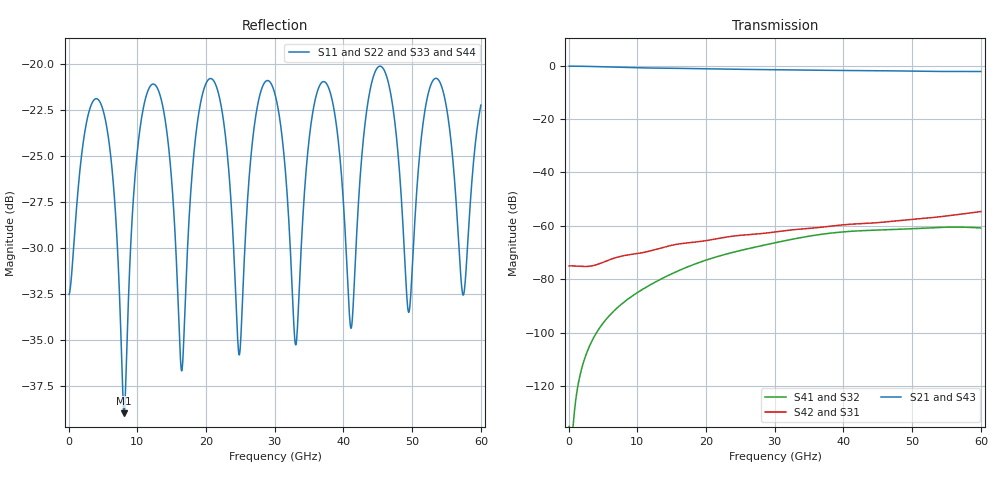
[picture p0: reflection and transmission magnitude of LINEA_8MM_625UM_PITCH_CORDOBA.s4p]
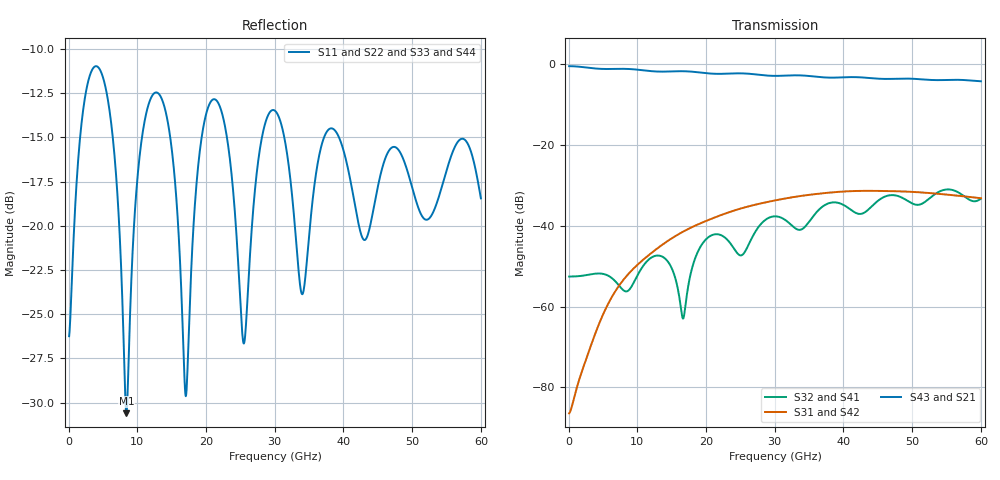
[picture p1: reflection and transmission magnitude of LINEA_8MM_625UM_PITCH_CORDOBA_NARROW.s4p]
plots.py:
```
"""Comparison plots: CORDOBA (35 / 49.85 um) vs CORDOBA HZ (10 / 25 um), 8 mm. Model-free S-parameters
from the s4p files; EO crosstalk from the CST gap fields at the 12 monitor frequencies (50 ohm, push-pull)."""
import os, sys
sys.path.insert(0, os.path.abspath(os.path.join(os.path.dirname(__file__), "../../../..")))
import numpy as np, skrf, matplotlib
matplotlib.use("Agg")
import matplotlib.pyplot as plt
from mzm_interconnect import parameters as P, xtalk_s4p as X, xtalk_fields as XF
HERE = os.path.dirname(os.path.abspath(__file__))
RUNS = {"CORDOBA (signal 35 µm, grounds 49.85 µm)": (os.path.join(HERE, "../cordoba_8mm"), "LINEA_8MM_625UM_PITCH_CORDOBA.s4p"),
        "CORDOBA HZ (signal 10 µm, grounds 25 µm)": (HERE, "LINEA_8MM_625UM_PITCH_CORDOBA_NARROW.s4p")}
COL = ["#2a78d6", "#eb6834"]; INK, MUTED, GRID = "#1f1f1e", "#6b6a64", "#e4e3de"; SURF = "#fcfcfb"
d = lambda x: 20 * np.log10(np.abs(x) + 1e-30)
plt.rcParams.update({"font.size": 10, "axes.edgecolor": MUTED, "axes.labelcolor": INK, "xtick.color": MUTED,
                     "ytick.color": MUTED, "axes.facecolor": SURF, "figure.facecolor": SURF, "axes.grid": True,
                     "grid.color": GRID, "grid.linewidth": 0.8, "axes.spines.top": False, "axes.spines.right": False})
nets = {k: skrf.Network(os.path.join(v[0], v[1])) for k, v in RUNS.items()}
fig, axs = plt.subplots(2, 2, figsize=(12, 8), sharex=True)
panels = [((0, 0), "S11 (dB)", 0, 0), ((0, 1), "S21 (dB)", 1, 0), ((1, 0), "NEXT = S31 (dB)", 2, 0), ((1, 1), "FEXT = S41 (dB)", 3, 0)]
for (r, c), title, i, j in panels:
    a = axs[r, c]
    for n, (k, net) in enumerate(nets.items()):
        a.plot(net.f / 1e9, d(net.s[:, i, j]), color=COL[n], lw=2, label=k)
    a.set_title(title, loc="left", color=INK, fontsize=11)
    a.set_xlim(0, 60)
for a in axs[1]: a.set_xlabel("Frequency (GHz)")
axs[1, 1].set_ylim(-140, -20); axs[1, 0].set_ylim(-100, -20)
axs[0, 0].legend(frameon=False, loc="lower right")
fig.suptitle("8 mm pairs, 625 µm pitch: S-parameters (ports 1 A near, 2 A far, 3 B near, 4 B far; 50 Ω)", color=INK, x=0.01, ha="left")
fig.tight_layout(); fig.savefig(os.path.join(HERE, "compare_sparams.png"), dpi=150)

p = P.defaults(); p["Rt_R"] = 50.0; p["Zs_R"] = 50.0
fig, a = plt.subplots(figsize=(9, 5))
for n, (k, (path, s4p)) in enumerate(RUNS.items()):
    r = XF.eo_crosstalk_fields(p, XF.load_field_dir(path), X.load_pair(os.path.join(path, s4p), 8.0))
    y = d(r["X"])
    a.plot(r["f_GHz"], y, "-o", color=COL[n], lw=2, ms=8, mec=SURF, mew=2, label=k)
    a.annotate(f"{y[-1]:.1f} dB", (r["f_GHz"][-1], y[-1]), xytext=(8, 0), textcoords="offset points", va="center", color=INK, fontsize=9)
a.set_xlim(0, 66); a.set_xlabel("Frequency (GHz)"); a.set_ylabel("EO crosstalk B/A (dB)")
a.set_title("EO crosstalk from the CST gap fields, 12 monitor frequencies\n(50 Ω source and load, push-pull, optical n_g 2.27; points are exact for the TD models, lines only join them)",
            loc="left", color=INK, fontsize=10)
a.legend(frameon=False, loc="lower right")
fig.tight_layout(); fig.savefig(os.path.join(HERE, "compare_eo_xtalk.png"), dpi=150)
print("ok")
```
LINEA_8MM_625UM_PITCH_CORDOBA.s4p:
! TOUCHSTONE file generated by CST MICROWAVE STUDIO
! Date and time: Wed Oct 28 09:14:27 2026
! Project name: LINEA_8MM_625UM_PITCH_CORDOBA.cst
! Parameters = {CHANNEL_PITCH=0.625; GAP=0.00415; L=8; L1=0.02; L2=0.086; L3=0.066; NCELL=1; PITCH=0.18; START_POSITION=0.13; W1=0.003; W2=0.004; W3=0.009; WG=0.04985; gap_oxr=0.00125; linbo3_thickness=0.0002; mtx=0.002; oxiDinE=0.0014; w=0.185; ws=0.035}
! Header version: 2024
! Port assignment regex: !\s*Touchstone port\s*([0-9]+)\s*=\s*(CST MWS port|CST DES external port|CST DES block port)\s*(.+)\s* \(\"(.*)\"\)(\s*mode\s*([0-9]+))?.*
! Touchstone port assignment:
! Touchstone port 1 = CST MWS port 1 ("")
! Touchstone port 2 = CST MWS port 2 ("")
! Touchstone port 3 = CST MWS port 3 ("")
! Touchstone port 4 = CST MWS port 4 ("")
# GHz S MA R 50
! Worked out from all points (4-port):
!   1000 points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, 60 MHz to 60 GHz, reference 50 ohm
!   strongest paths, dB at 60 MHz, 15.06 GHz, 30.06 GHz, 45.06 GHz, 60 GHz:
!     S21: -0.3, -1.0, -1.5, -1.9, -2.2
!     S43: -0.3, -1.0, -1.5, -1.9, -2.2
!     S42: -75.0, -67.3, -62.3, -58.8, -54.7
!     S31: -75.0, -67.3, -62.3, -58.8, -54.7
!     S41: -135.2, -77.9, -66.4, -61.6, -60.8
!     S32: -135.3, -77.9, -66.4, -61.6, -60.8
!   lowest |S11| = -39.0 dB at 8.04 GHz (marker M1), VSWR 1.02, Z = 48.9 - j0.272 ohm
!   |S11| at or under -10 dB: start of sweep to end of sweep
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0.06  0.02363 -5.6  0.9716 -1.3  0.0001772 -2.9  1.729e-07 173.7
      0.9716 -1.3  0.02363 -5.6  1.727e-07 173.7  0.0001773 -2.9
      0.0001772 -2.9  1.719e-07 173.7  0.02363 -5.6  0.9716 -1.3
      1.741e-07 173.7  0.0001773 -2.9  0.9716 -1.3  0.02363 -5.6
8.04  0.01123 -165.7  0.9195 -176.0  0.0002753 -36.9  3.704e-05 178.9
      0.9195 -176.0  0.0112 -165.6  3.703e-05 178.9  0.0002753 -36.9
      0.0002753 -36.9  3.704e-05 178.9  0.01123 -165.7  0.9195 -176.0
      3.703e-05 178.9  0.0002753 -36.9  0.9195 -176.0  0.0112 -165.6
60  0.07722 -125.7  0.7723 153.1  0.001843 144.6  0.0009075 63.1
    0.7723 153.1  0.07724 -125.9  0.0009075 63.1  0.001843 144.7
    0.001843 144.6  0.0009075 63.1  0.07723 -125.7  0.7723 153.1
    0.0009075 63.1  0.001843 144.7  0.7723 153.1  0.07723 -125.9
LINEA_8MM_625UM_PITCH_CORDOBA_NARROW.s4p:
! TOUCHSTONE file generated by CST MICROWAVE STUDIO
! Date and time: Thu Oct 29 13:48:41 2026
! Project name: LINEA_8MM_625UM_PITCH_CORDOBA_NARROW.cst
! Parameters = {CHANNEL_PITCH=0.625; GAP=0.00415; L=8; L1=0.02; L2=0.086; L3=0.066; NCELL=1; PITCH=0.18; START_POSITION=0.13; W1=0.003; W2=0.004; W3=0.009; WG=0.025; gap_oxr=0.00125; linbo3_thickness=0.0002; mtx=0.002; oxiDinE=0.0014; w=0.185; ws=0.01}
! Header version: 2024
! Port assignment regex: !\s*Touchstone port\s*([0-9]+)\s*=\s*(CST MWS port|CST DES external port|CST DES block port)\s*(.+)\s* \(\"(.*)\"\)(\s*mode\s*([0-9]+))?.*
! Touchstone port assignment:
! Touchstone port 1 = CST MWS port 1 ("")
! Touchstone port 2 = CST MWS port 2 ("")
! Touchstone port 3 = CST MWS port 3 ("")
! Touchstone port 4 = CST MWS port 4 ("")
# GHz S MA R 50
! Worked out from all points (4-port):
!   1000 points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, 60 MHz to 60 GHz, reference 50 ohm
!   strongest paths, dB at 60 MHz, 15.06 GHz, 30.06 GHz, 45.06 GHz, 60 GHz:
!     S43: -0.4, -1.7, -2.8, -3.5, -4.2
!     S21: -0.4, -1.7, -2.8, -3.5, -4.2
!     S31: -86.5, -43.0, -33.7, -31.3, -33.2
!     S42: -86.5, -43.0, -33.7, -31.3, -33.1
!     S32: -52.6, -50.8, -37.6, -33.7, -33.3
!     S41: -52.6, -50.8, -37.6, -33.7, -33.3
!   lowest |S11| = -30.6 dB at 8.4 GHz (marker M1), VSWR 1.06, Z = 53 - j0.525 ohm
!   |S11| at or under -10 dB: start of sweep to end of sweep
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0.06  0.04872 6.6  0.9523 -1.4  4.735e-05 1.5  0.002352 176.1
      0.9523 -1.4  0.04872 6.6  0.002352 176.1  4.744e-05 1.5
      4.748e-05 1.5  0.002352 176.1  0.04872 6.6  0.9523 -1.4
      0.002352 176.1  4.756e-05 1.5  0.9523 -1.4  0.04872 6.6
8.4  0.02949 -9.7  0.8812 -179.1  0.002375 -14.8  0.001539 -8.7
     0.8812 -179.1  0.02952 -9.7  0.001539 -8.7  0.002375 -14.8
     0.002375 -14.8  0.001539 -8.7  0.02949 -9.7  0.8812 -179.1
     0.001539 -8.7  0.002375 -14.8  0.8812 -179.1  0.02952 -9.7
60  0.1195 -32.6  0.6189 -164.9  0.02198 170.1  0.02171 111.3
    0.6189 -164.9  0.1194 -32.6  0.02171 111.3  0.022 170.2
    0.02199 170.1  0.0217 111.3  0.1195 -32.6  0.6189 -164.9
    0.0217 111.3  0.02201 170.2  0.6189 -164.9  0.1194 -32.6
